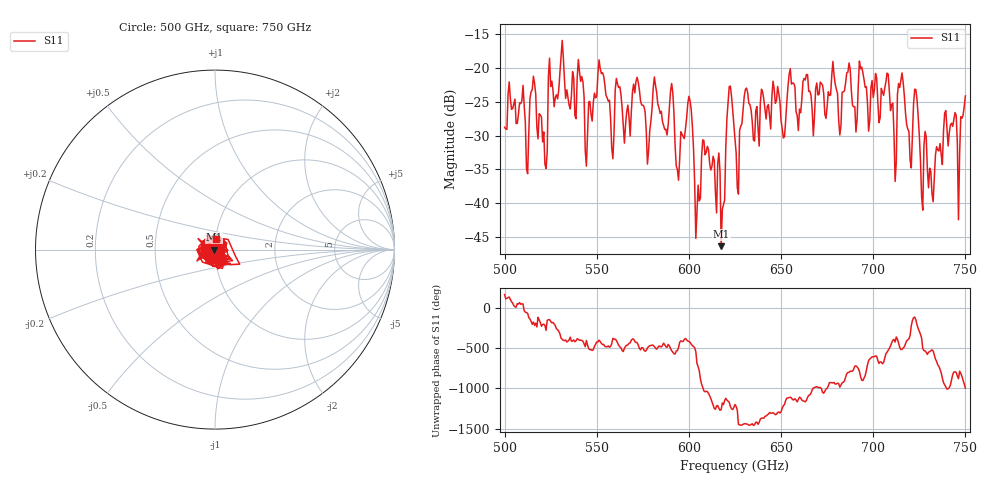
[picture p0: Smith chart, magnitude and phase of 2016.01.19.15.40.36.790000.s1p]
!Created with skrf (http://scikit-rf.org).
# GHz S RI R 50.0
!freq ReS11 ImS11
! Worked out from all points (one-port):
!   401 points, 500 GHz to 750 GHz, reference 50 ohm
!   lowest |S11| = -46.4 dB at 617.5 GHz (marker M1), VSWR 1.01, Z = 49.5 + j0.0515 ohm
!   |S11| at or under -10 dB: start of sweep to end of sweep
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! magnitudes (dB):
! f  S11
! 500 GHz  -28.8
! 512.5 GHz  -35.7
! 515.6 GHz  -21.2
! 521.9 GHz  -34.2
! 525 GHz  -22.7
! 531.2 GHz  -15.9
! 545 GHz  -29.7
! 551.9 GHz  -20.1
! 558.1 GHz  -31.9
! 562.5 GHz  -22.8
! 578.1 GHz  -32.3
! 590.6 GHz  -22.3
! 593.8 GHz  -35.1
! 600 GHz  -24.2
! 604.4 GHz  -41.4
! 608.8 GHz  -32.8
! 617.5 GHz  -46.4
! 621.9 GHz  -22.7
! 625 GHz  -30.5
! 656.2 GHz  -22.2
! 687.5 GHz  -20.2
! 707.5 GHz  -20.8
! 711.2 GHz  -29.7
! 715 GHz  -21.9
! 718.8 GHz  -29.1
! 723.1 GHz  -23.2
! 731.2 GHz  -35.4
! 750 GHz  -24.1
